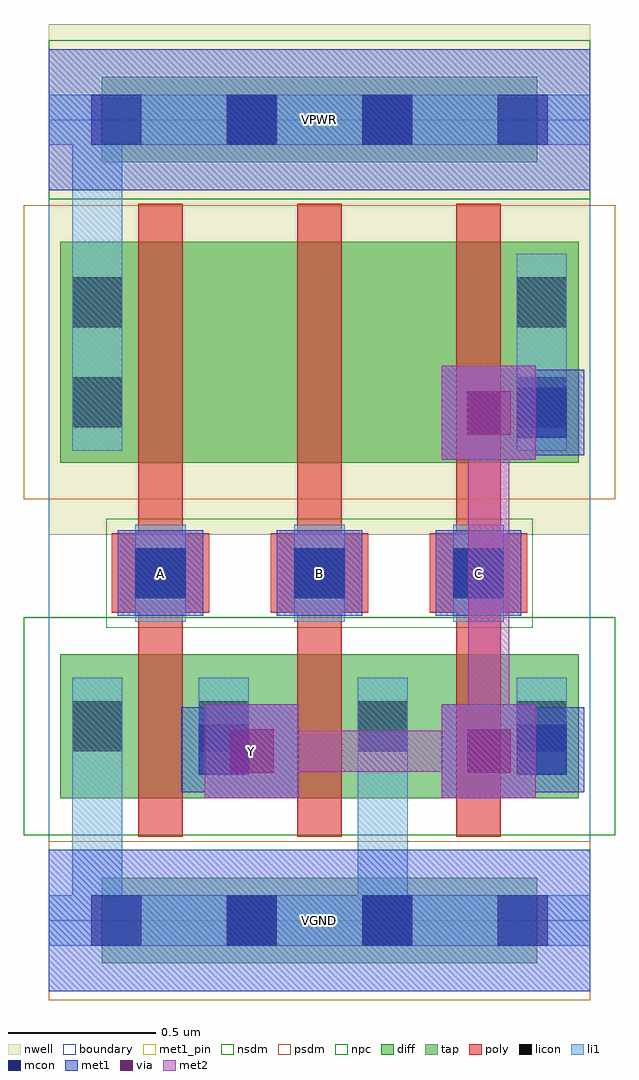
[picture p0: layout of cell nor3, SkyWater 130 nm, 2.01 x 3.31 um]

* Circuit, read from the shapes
.subckt nor3 A B C VGND VPWR Y
XM1 Y A VGND VGND sky130_fd_pr__nfet_01v8 w=0.49 l=0.15
XM2 VGND B Y VGND sky130_fd_pr__nfet_01v8 w=0.49 l=0.15
XM3 Y C VGND VGND sky130_fd_pr__nfet_01v8 w=0.49 l=0.15
XM4 n1 A VPWR VPWR sky130_fd_pr__pfet_01v8 w=0.75 l=0.15
XM5 n2 B n1 VPWR sky130_fd_pr__pfet_01v8 w=0.75 l=0.15
XM6 Y C n2 VPWR sky130_fd_pr__pfet_01v8 w=0.75 l=0.15
.ends

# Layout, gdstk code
import gdstk
lib = gdstk.Library(unit=1e-6, precision=1e-09)
def R(c, l, rs):  # rectangles x0, y0, x1, y1
    for r in rs: c.add(gdstk.rectangle(r[:2], r[2:], *l))
def A(c, l, x, y, w, h, nx, ny, dx, dy):  # array of equal rectangles
    R(c, l, [(x+i*dx, y+j*dy, x+i*dx+w, y+j*dy+h) for i in range(nx) for j in range(ny)])
nwell = (64, 20)
diff = (65, 20)
tap = (65, 44)
poly = (66, 20)
licon = (66, 44)
li1 = (67, 20)
mcon = (67, 44)
met1_pin = (68, 16)
met1 = (68, 20)
via = (68, 44)
met2 = (69, 20)
nsdm = (93, 44)
psdm = (94, 20)
npc = (95, 20)
boundary = (235, 4)

nor3 = lib.new_cell('nor3')
R(nor3, nwell, [(0,1.31,1.84,3.045)])
R(nor3, diff, [(0.04,0.415,1.8,0.905), (0.04,1.555,1.8,2.305)])
R(nor3, tap, [(0.18,-0.145,1.66,0.145), (0.18,2.575,1.66,2.865)])
A(nor3, poly, 0.305, 0.285, 0.15, 2.15, 3, 1, 0.54, 0)
A(nor3, poly, 0.215, 1.045, 0.33, 0.27, 3, 1, 0.54, 0)
A(nor3, licon, 0.51, 0.575, 0.17, 0.17, 3, 1, 0.54, 0)
A(nor3, licon, 0.295, 1.095, 0.17, 0.17, 3, 1, 0.54, 0)
R(nor3, licon, [(0.605,-0.085,0.775,0.085), (1.065,-0.085,1.235,0.085), (0.08,0.575,0.25,0.745), (0.08,1.675,0.25,1.845), (1.59,1.675,1.76,1.845), (0.08,2.015,0.25,2.185), (1.59,2.015,1.76,2.185), (0.605,2.635,0.775,2.805), (1.065,2.635,1.235,2.805)])
A(nor3, li1, 0.51, 0.495, 0.17, 0.33, 3, 1, 0.54, 0)
A(nor3, li1, 0.295, 1.015, 0.17, 0.33, 3, 1, 0.54, 0)
R(nor3, li1, [(0,-0.085,1.84,0.085), (0.08,-0.085,0.25,0.825), (1.05,-0.085,1.22,0.825), (0.08,0.495,0.25,0.825), (0.08,1.595,0.25,2.265), (0.08,1.595,0.25,2.805), (1.59,1.595,1.76,2.265), (0,2.635,1.84,2.805)])
A(nor3, mcon, 0.145, -0.085, 0.17, 0.17, 4, 2, 0.46, 2.72)
A(nor3, mcon, 0.295, 1.095, 0.17, 0.17, 3, 1, 0.54, 0)
R(nor3, mcon, [(0.51,0.495,0.68,0.665), (1.59,0.495,1.76,0.665), (1.59,1.64,1.76,1.81)])
A(nor3, met1_pin, 0.235, 1.035, 0.29, 0.29, 3, 1, 0.54, 0)
R(nor3, met1_pin, [(0,-0.24,1.84,0.24), (0.53,0.415,0.85,0.735), (0,2.48,1.84,2.96)])
A(nor3, met1, 0.235, 1.035, 0.29, 0.29, 3, 1, 0.54, 0)
R(nor3, met1, [(0,-0.24,1.84,0.24), (0.53,0.415,0.85,0.735), (1.335,0.415,1.655,0.735), (0.45,0.435,0.74,0.725), (1.53,0.435,1.82,0.725), (0.62,0.505,0.76,0.65), (1.425,0.505,1.565,0.65), (0.525,0.51,0.76,0.65), (1.425,0.51,1.745,0.65), (1.335,1.565,1.655,1.885), (1.53,1.58,1.82,1.87), (1.425,1.655,1.745,1.795), (0,2.48,1.84,2.96)])
R(nor3, via, [(0.615,0.5,0.765,0.65), (1.42,0.5,1.57,0.65), (1.42,1.65,1.57,1.8)])
R(nor3, met2, [(0.53,0.415,0.85,0.735), (1.335,0.415,1.655,0.735), (0.62,0.505,1.565,0.645), (1.425,0.505,1.565,1.795), (1.335,1.565,1.655,1.885)])
R(nor3, nsdm, [(-0.085,0.29,1.925,1.03), (0,2.45,1.84,2.99)])
R(nor3, psdm, [(0,-0.27,1.84,0.27), (-0.085,1.43,1.925,2.43)])
R(nor3, npc, [(0.195,0.995,1.645,1.365)])
R(nor3, boundary, [(0,0,1.84,2.72)])
nor3.add(gdstk.Label('A', (0.38,1.18), layer=68, texttype=5))
nor3.add(gdstk.Label('B', (0.92,1.18), layer=68, texttype=5))
nor3.add(gdstk.Label('C', (1.46,1.18), layer=68, texttype=5))
nor3.add(gdstk.Label('Y', (0.69,0.575), layer=68, texttype=5))
nor3.add(gdstk.Label('VPWR', (0.92,2.72), layer=68, texttype=5))
nor3.add(gdstk.Label('VGND', (0.92,0), layer=68, texttype=5))
nor3.add(gdstk.Label('A', (0.38,1.18), layer=68, texttype=16))
nor3.add(gdstk.Label('B', (0.92,1.18), layer=68, texttype=16))
nor3.add(gdstk.Label('C', (1.46,1.18), layer=68, texttype=16))
nor3.add(gdstk.Label('Y', (0.69,0.575), layer=68, texttype=16))
nor3.add(gdstk.Label('VPWR', (0.92,2.72), layer=68, texttype=16))
nor3.add(gdstk.Label('VGND', (0.92,0), layer=68, texttype=16))

lib.write_gds('nor3.gds')
